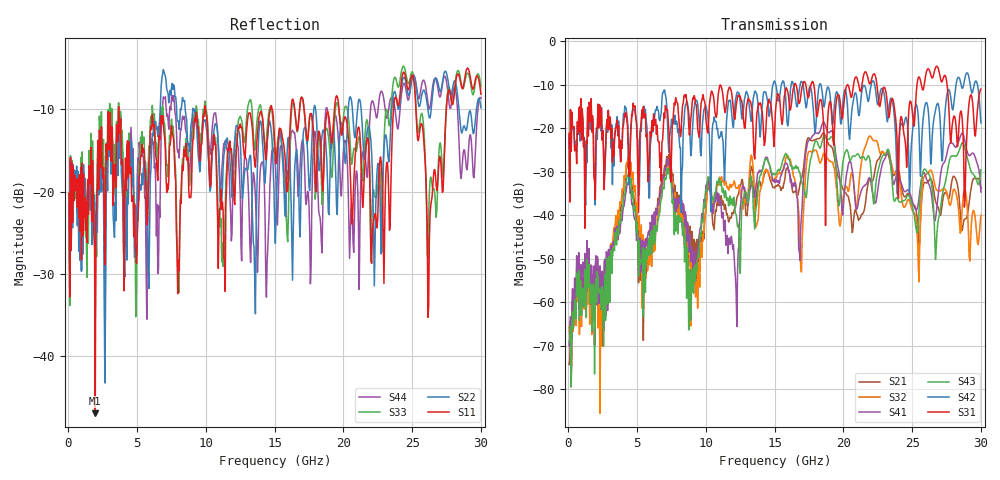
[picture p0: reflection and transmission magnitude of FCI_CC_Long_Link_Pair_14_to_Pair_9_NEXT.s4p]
! FCI USA LLC
! FCI_CC_Long_Link_Pair_14_to_Pair_9_NEXT.s4p
! PART DESCRIPTION: FCI Connector Concept 0.70 m Simulated Channel Model
! FREQUENCY RANGE: 50 MHz to 30 GHz in 50 MHz frequency steps
! PORT DEFINITIONS:
! Port  1  ----->  TX  Pin E4(Side B) -- Pin A5(Side B)  RX  <-----  Port  2
! Port  3  ----->  TX  Pin F4(Side B) -- Pin B5(Side B)  RX  <-----  Port  4
! Information
! FCI endeavors to use its reasonable efforts to place accurate and
! up-to-date information in this Touchstone file.  However, this file is
! provided on an as is basis.  FCI GIVES NO WARRANTY, EXPRESS OR
! IMPLIED, WITH RESPECT TO ANY INFORMATION PROVIDED IN THIS FILE,
! INCLUDING BUT NOT LIMITED TO THE IMPLIED WARRANTIES OF
! MERCHANTABILITY, FITNESS FOR A PARTICULAR PURPOSE OR NON-INFRINGEMENT.
! FCI SHALL NOT BE LIABLE FOR ANY DIRECT, SPECIAL, INDIRECT,
! CONSEQUENTIAL, PUNITIVE OR OTHER DAMAGES BASED ON USE OF THIS FILE.
#	Hz	S	RI	R	50
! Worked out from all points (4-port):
!   600 points, 50 MHz to 30 GHz, reference 50 ohm
!   strongest paths, dB at 50 MHz, 7.55 GHz, 15.05 GHz, 22.55 GHz, 30 GHz:
!     S31: -21.2, -19.3, -16.5, -13.5, -11.0
!     S42: -21.4, -19.4, -9.5, -14.1, -18.7
!     S43: -69.1, -37.1, -30.7, -29.4, -29.5
!     S41: -70.0, -34.5, -32.4, -32.9, -34.6
!     S32: -65.8, -32.6, -31.3, -24.2, -40.0
!     S21: -74.4, -31.1, -33.3, -27.1, -33.9
!   lowest |S11| = -46.9 dB at 1.95 GHz (marker M1), VSWR 1.01, Z = 50.1 + j0.431 ohm
!   |S11| at or under -10 dB: 3.655 GHz to 9.911 GHz (6.256 GHz wide, 92.2 % of centre); 9.97 GHz to 14.68 GHz (4.712 GHz wide, 38.2 % of centre); 19.68 GHz to 23.65 GHz (3.964 GHz wide, 18.3 % of centre)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
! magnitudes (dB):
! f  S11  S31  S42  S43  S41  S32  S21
! 50 MHz  -20.2  -21.2  -21.4  -69.1  -70.0  -65.8  -74.4
! 1.95 GHz  -46.9  -36.3  -37.6  -55.8  -51.7  -54.2  -53.5
! 4.4 GHz  -13.9  -31.0  -32.9  -29.7  -32.0  -26.3  -28.0
! 8.9 GHz  -20.7  -17.8  -26.3  -64.2  -50.7  -65.5  -48.5
! 10.2 GHz  -15.9  -18.2  -19.8  -31.4  -32.7  -31.8  -33.2
! 21.95 GHz  -20.8  -9.7  -11.2  -27.8  -31.7  -21.8  -31.7
! 30 GHz  -8.2  -11.0  -18.7  -29.5  -34.6  -40.0  -33.9
